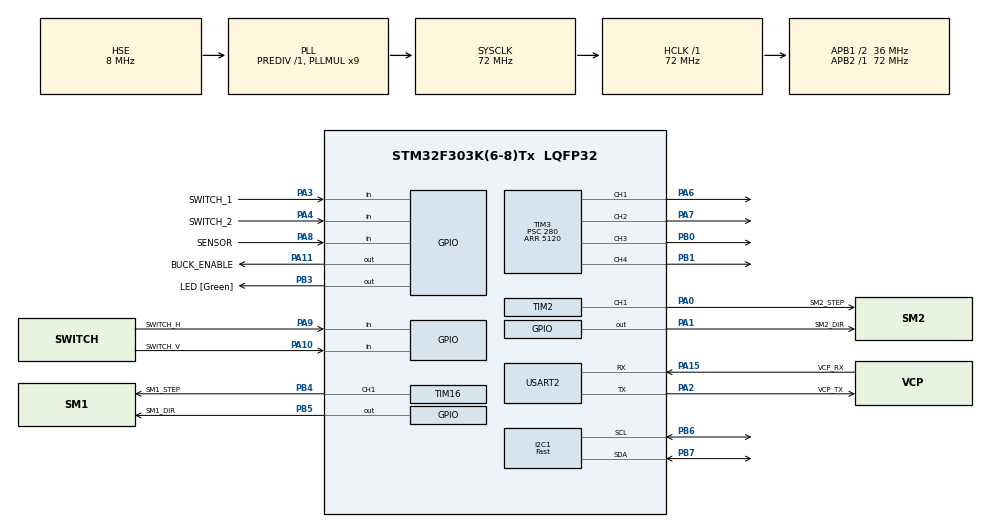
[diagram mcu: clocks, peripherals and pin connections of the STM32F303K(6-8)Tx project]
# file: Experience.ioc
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Dma.I2C1_TX.0.Direction=DMA_MEMORY_TO_PERIPH
Dma.I2C1_TX.0.Instance=DMA1_Channel2
Dma.I2C1_TX.0.MemDataAlignment=DMA_MDATAALIGN_HALFWORD
Dma.I2C1_TX.0.MemInc=DMA_MINC_ENABLE
Dma.I2C1_TX.0.Mode=DMA_CIRCULAR
Dma.I2C1_TX.0.PeriphDataAlignment=DMA_PDATAALIGN_BYTE
Dma.I2C1_TX.0.PeriphInc=DMA_PINC_DISABLE
Dma.I2C1_TX.0.Priority=DMA_PRIORITY_LOW
Dma.Request0=I2C1_TX
I2C1.I2C_Speed_Mode=I2C_Fast
I2C1.Timing=0x00702681
Mcu.Family=STM32F3
Mcu.Name=STM32F303K(6-8)Tx
Mcu.Package=LQFP32
NVIC.DMA1_Channel2_IRQn=true\:0\:0\:false\:false\:true\:false\:true
NVIC.PriorityGroup=NVIC_PRIORITYGROUP_4
NVIC.TIM1_UP_TIM16_IRQn=true\:0\:0\:false\:false\:true\:true\:true
NVIC.TIM2_IRQn=true\:0\:0\:false\:false\:true\:true\:true
NVIC.TIM6_DAC1_IRQn=true\:0\:0\:false\:false\:true\:true\:true
PA0.GPIO_Label=SM2_STEP
PA0.Signal=S_TIM2_CH1_ETR
PA1.GPIO_Label=SM2_DIR
PA1.Signal=GPIO_Output
PA10.GPIO_Label=SWITCH_V
PA10.Signal=GPIO_Input
PA11.GPIO_Label=BUCK_ENABLE
PA11.Signal=GPIO_Output
PA13.GPIO_Label=SWDIO
PA13.Mode=Serial_Wire
PA13.Signal=SYS_JTMS-SWDIO
PA14.GPIO_Label=SWCLK
PA14.Mode=Serial_Wire
PA14.Signal=SYS_JTCK-SWCLK
PA15.GPIO_Label=VCP_RX
PA15.Mode=Asynchronous
PA15.Signal=USART2_RX
PA2.GPIO_Label=VCP_TX
PA2.Mode=Asynchronous
PA2.Signal=USART2_TX
PA3.GPIO_Label=SWITCH_1
PA3.GPIO_PuPd=GPIO_PULLUP
PA3.Signal=GPIO_Input
PA4.GPIO_Label=SWITCH_2
PA4.GPIO_PuPd=GPIO_PULLUP
PA4.Signal=GPIO_Input
PA6.Signal=S_TIM3_CH1
PA7.Signal=S_TIM3_CH2
PA8.GPIO_Label=SENSOR
PA8.Signal=GPIO_Input
PA9.GPIO_Label=SWITCH_H
PA9.Signal=GPIO_Input
PB0.Signal=S_TIM3_CH3
PB1.Signal=S_TIM3_CH4
PB3.GPIO_Label=LED [Green]
PB3.Signal=GPIO_Output
PB4.GPIO_Label=SM1_STEP
PB4.Signal=S_TIM16_CH1
PB5.GPIO_Label=SM1_DIR
PB5.Signal=GPIO_Output
PB6.GPIO_PuPdOD=GPIO_NOPULL
PB6.Mode=I2C
PB6.Signal=I2C1_SCL
PB7.GPIO_PuPdOD=GPIO_NOPULL
PB7.Mode=I2C
PB7.Signal=I2C1_SDA
PF0\ /\ OSC_IN.Mode=HSE-External-Clock-Source
PF0\ /\ OSC_IN.Signal=RCC_OSC_IN
ProjectManager.HeapSize=0x200
ProjectManager.StackSize=0x400
ProjectManager.TargetToolchain=SW4STM32
RCC.AHBFreq_Value=72000000
RCC.APB1CLKDivider=RCC_HCLK_DIV2
RCC.APB1Freq_Value=36000000
RCC.APB1TimFreq_Value=72000000
RCC.APB2Freq_Value=72000000
RCC.APB2TimFreq_Value=72000000
RCC.CortexFreq_Value=72000000
RCC.HCLKFreq_Value=72000000
RCC.HSE_VALUE=8000000
RCC.HSI_VALUE=8000000
RCC.I2c1ClockSelection=RCC_I2C1CLKSOURCE_SYSCLK
RCC.PLLMUL=RCC_PLL_MUL9
RCC.PLLSourceVirtual=RCC_PLLSOURCE_HSE
RCC.SYSCLKFreq_VALUE=72000000
RCC.SYSCLKSourceVirtual=RCC_SYSCLKSOURCE_PLLCLK
SH.S_TIM16_CH1.0=TIM16_CH1,Output Compare1 CH1
SH.S_TIM2_CH1_ETR.0=TIM2_CH1,Output Compare1 CH1
SH.S_TIM3_CH1.0=TIM3_CH1,PWM Generation1 CH1
SH.S_TIM3_CH2.0=TIM3_CH2,PWM Generation2 CH2
SH.S_TIM3_CH3.0=TIM3_CH3,PWM Generation3 CH3
SH.S_TIM3_CH4.0=TIM3_CH4,PWM Generation4 CH4
TIM16.AutoReloadPreload=TIM_AUTORELOAD_PRELOAD_DISABLE
TIM16.Channel=TIM_CHANNEL_1
TIM16.OCMode_1=TIM_OCMODE_TOGGLE
TIM16.Period=1000
TIM16.Prescaler=50
TIM16.Pulse=20
TIM2.AutoReloadPreload=TIM_AUTORELOAD_PRELOAD_DISABLE
TIM2.Channel-Output\ Compare1\ CH1=TIM_CHANNEL_1
TIM2.OCMode_1=TIM_OCMODE_TOGGLE
TIM2.Period=1000
TIM2.Prescaler=50
TIM2.Pulse-Output\ Compare1\ CH1=20
TIM3.Channel-PWM\ Generation1\ CH1=TIM_CHANNEL_1
TIM3.Channel-PWM\ Generation2\ CH2=TIM_CHANNEL_2
TIM3.Channel-PWM\ Generation3\ CH3=TIM_CHANNEL_3
TIM3.Channel-PWM\ Generation4\ CH4=TIM_CHANNEL_4
TIM3.Period=5120
TIM3.Prescaler=280
TIM3.Pulse-PWM\ Generation1\ CH1=384
TIM3.Pulse-PWM\ Generation2\ CH2=384
TIM3.Pulse-PWM\ Generation3\ CH3=384
TIM3.Pulse-PWM\ Generation4\ CH4=384
TIM6.AutoReloadPreload=TIM_AUTORELOAD_PRELOAD_ENABLE
TIM6.Period=57600
TIM6.Prescaler=50
USART2.VirtualMode-Asynchronous=VM_ASYNC
VP_TIM16_VS_ClockSourceINT.Mode=Enable_Timer
VP_TIM2_VS_ClockSourceINT.Mode=Internal
VP_TIM3_VS_ClockSourceINT.Mode=Internal
VP_TIM6_VS_ClockSourceINT.Mode=Enable_Timer
board=NUCLEO-F303K8

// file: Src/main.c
/* USER CODE BEGIN Header */
/**
  ******************************************************************************
  * @file           : main.c
  * @brief          : Main program body
  ******************************************************************************
  * @attention
  *
  * <h2><center>&copy; Copyright (c) 2019 STMicroelectronics.
  * All rights reserved.</center></h2>
  *
  * This software component is licensed by ST under BSD 3-Clause license,
  * the "License"; You may not use this file except in compliance with the
  * License. You may obtain a copy of the License at:
  *                        opensource.org/licenses/BSD-3-Clause
  *
  ******************************************************************************
  */
/* USER CODE END Header */

#include "main.h"

/* USER CODE BEGIN Includes */

#include "../PCA9685/pca9685.h"
#include "../SX1509/sx1509.h"
/* USER CODE END Includes */

/* USER CODE BEGIN PD */
#define JRO     // used to disable code during tests, MAKE SURE TO COMMENT OUT !!!
/* USER CODE END PD */

I2C_HandleTypeDef hi2c1;
DMA_HandleTypeDef hdma_i2c1_tx;

TIM_HandleTypeDef htim2;
TIM_HandleTypeDef htim3;
TIM_HandleTypeDef htim6;
TIM_HandleTypeDef htim16;

UART_HandleTypeDef huart2;

/* USER CODE BEGIN PV */

// Variables liées au controle des moteurs PaP
extern uint8_t sm_busy;
extern uint16_t sm1_steps;  // steps à effectuer pour le mouvement en cours
extern uint16_t sm2_steps;
uint16_t sm1_pos = 0;   // position courante
uint16_t sm2_pos = 0;

// Table des positions des servos de la figurine (sera envoyée par DMA)
extern uint16_t servos[16]; // 8 servos, pour chacun, Ton et Toff

// Mot d'état des rubans de LED du décors, envoyé au SX1509 par I²C après chaque transfer DMA au PCA9685
uint8_t LEDs = 0;   // Eteintes par défaut

/* USER CODE END PV */

void SystemClock_Config(void);
static void MX_GPIO_Init(void);
static void MX_DMA_Init(void);
static void MX_USART2_UART_Init(void);
static void MX_I2C1_Init(void);
static void MX_TIM16_Init(void);
static void MX_TIM3_Init(void);
static void MX_TIM2_Init(void);
static void MX_TIM6_Init(void);

/* USER CODE BEGIN 0 */

// ====== Pilotage des PaP par interruption de TIM16 et TIM2 ========

// arguments : coordonnées (en mm) et vitesse (en mm/s) entre 3 et 100
void move (uint16_t Y, uint16_t Z, uint16_t S)
{
    // Tests de sécurité :
    if ((Y < 0 ) || (Y > 300)) return;  // portée horizontale
    if ((Z < 0 ) || (Z > 100)) return;  // portée verticale
    if ((S < 3 ) || (S > 100)) return;  // vitesse
    if (SW1 == 0) return;               // interrupteur de mise en sécurité / "homing"

    // Attendre la fin du mouvement précédent
    while (sm_busy > 0);
    // On active le busy
    sm_busy = 2;    // 2 parce qu'il y a deux moteurs
    // Nettoyage de signal : évite un temps trop court entre la dernière impulsion du mouvement précédent et la première impulsion du nouveau mouvement
    HAL_Delay (1);
    // Calcul du nombre de pas à effectuer, et de leur direction :
    // Axe 1 :
    // Conversion de la position demandée en pas moteur :
    uint16_t sm1_pos2 = Y * 25;
    // Déterminaison du sens de déplacement et de la distance à franchir :
    if (sm1_pos2 > sm1_pos)
        {
            // sens aller
            sm1_steps = (sm1_pos2 - sm1_pos) << 1;  // nombre de pas à effectuer, x2 car l'ISR du timer doit s'exécuter deux fois par pas
            // controle du signal de direction :
            HAL_GPIO_WritePin(SM1_DIR_GPIO_Port, SM1_DIR_Pin, GPIO_PIN_SET);
        }
    else
        {
            // sens retour
            sm1_steps = (sm1_pos - sm1_pos2) << 1;
            // controle du signal de direction :
            HAL_GPIO_WritePin(SM1_DIR_GPIO_Port, SM1_DIR_Pin, GPIO_PIN_RESET);
        }
    // Axe 2 :
    // Conversion de la position demandée en pas moteur :
    uint16_t sm2_pos2 = Z * 25;
    // Déterminaison du sens de déplacement et de la distance à franchir :
    if (sm2_pos2 > sm2_pos)
        {
            // sens aller
            sm2_steps = (sm2_pos2 - sm2_pos) << 1;  // nombre de pas à effectuer, x2 car l'ISR du timer doit s'exécuter deux fois par pas
            // controle du signal de direction :
            HAL_GPIO_WritePin(SM2_DIR_GPIO_Port, SM2_DIR_Pin, GPIO_PIN_SET);
        }
    else
        {
            // sens retour
            sm2_steps = (sm2_pos - sm2_pos2) << 1;
            // controle du signal de direction :
            HAL_GPIO_WritePin(SM2_DIR_GPIO_Port, SM2_DIR_Pin, GPIO_PIN_RESET);
        }
    // Calcul des fréquences timers
    // On commence par calculer la distance totale à parcourir :
    volatile double dist = sqrt (((double) sm1_steps * (double) sm1_steps) + ((double) sm2_steps * (double) sm2_steps));
    // Conversion de la vitesse de mm/s en pas/s :
    volatile double spd = S * 50;   // 25 x 2 : 25 pas par tour + doublé car l'interruption du timer aura lieu deux fois par pas
    // La figurine doit couvrir la distance "dist", en pas, à une vitesse de "spd", en pas par seconde
    // Calcul de la durée du mouvement coordonné :
    volatile double duration = dist / spd;    // resultat en secondes
    // Calcul de la période pour le timer de SM1 :
    // SM1 doit effectuer "sm1_steps" pas en "duration" secondes, donc la vitesse en pas/s sur cet axe est sm1_steps/duration : ce ratio est le nombre de pas à effectuer par seconde
    volatile double sm1_spd = sm1_steps / duration;
    // Le timer tourne à 1.44 MHz : pour produire la fréquence voulue, la période en cycles sera de 1.44 M / sm1_spd
    volatile double sm1_period = 1440000.0 / sm1_spd; // cette valeur devrait être inférieure à 65535 si la vitesse de mouvement est d'au moins 3 mm/s
    // SM2 : meme calculs :
    volatile double sm2_spd = sm2_steps / duration;
    volatile double sm2_period = 1440000.0 / sm2_spd; // cette valeur devrait être inférieure à 65535 si la vitesse de mouvement est d'au moins 3 mm/s

#ifdef JRO // raccourcissement de la trajectoire réelle afin d'aider à la visualisation sur scope
    sm1_steps /= 25;
    sm2_steps /= 25;
#endif

    // Paramétrage des timers
    htim16.Instance->ARR = (uint16_t) sm1_period;
    htim16.Instance->CCR1 = ((uint16_t) sm1_period) >> 1;   // on centre l'interruption sur la période
    htim2.Instance->ARR = (uint16_t) sm2_period;
    htim2.Instance->CCR1 = ((uint16_t) sm2_period) >> 1;   // on centre l'interruption sur la période
    // Lancement des timers
    HAL_TIM_OC_Start_IT(&htim2, 0);
    HAL_TIM_OC_Start_IT(&htim16, 0);
    // Mise à jour de la position courante aux nouvelles coordonnées
    sm1_pos = sm1_pos2;
    sm2_pos = sm2_pos2;
}

// Pilotage des servos de la figurine, fonction à interface simplifiée
// Argument : un tableau de huit valeurs 8 bits pour les 7 servos et la PWM des LED des yeux
// Cette fonction s'exécute en un peu moins de 1 ms, et elle est bloquante.
void pose (uint16_t* positions)
{
    servos[1] = positions[0];
    servos[3] = positions[1];
    servos[5] = positions[2];
    servos[7] = positions[3];
    servos[9] = positions[4];
    servos[11] = positions[5];
    servos[13] = positions[6];
    servos[15] = positions[7];
#ifndef JRO
    pca_writebuff16b (&hi2c1, PCA9685_LED8_ON_L, servos, 32);   // Remplacer PCA9685_LED8_ON_L par le premier canal utilisé sur la figurine, si nécessaire
#endif
}

/* USER CODE END 0 */

int main(void)
{

  /* MCU Configuration--------------------------------------------------------*/

  /* Reset of all peripherals, Initializes the Flash interface and the Systick. */
  HAL_Init();

  /* Configure the system clock */
  SystemClock_Config();

  /* Initialize all configured peripherals */
  MX_GPIO_Init();
  MX_DMA_Init();
  MX_USART2_UART_Init();
  MX_I2C1_Init();
  MX_TIM16_Init();
  MX_TIM3_Init();
  MX_TIM2_Init();
  MX_TIM6_Init();
  /* USER CODE BEGIN 2 */
  HAL_TIM_Base_Start_IT(&htim6); // Start_IT necessaire pour activer l'interruption de ce timer.

  // Init des périphériques I²C
#ifndef JRO
  sxinit(&hi2c1);
  pca_init(&hi2c1);
#endif

  /* USER CODE END 2 */

  /* Infinite loop */
  /* USER CODE BEGIN WHILE */

  // Init des positions initiales des servos
#ifndef JRO
  int k;
  for (k = 0; k < 16; k++)
      servos[k] = 0;
  pose (uint16_t[]{320, 320, 320, 320, 320, 320, 320, 0});  // Servos en position médiane, LED éteintes
#endif

  // Activation des servos "electron" et "toit"
  HAL_TIM_PWM_Start(&htim3, TIM_CHANNEL_1);     // Electron
  HAL_TIM_PWM_Start(&htim3, TIM_CHANNEL_2);     // Toit
  // HAL_TIM_PWM_Start(&htim3, 2);     // Réserve

  // première boucle infinie, dédiée à la detection de robot et au lancement de l'électron
#ifndef JRO
  uint8_t presence_robot = 0;
#else
  uint8_t presence_robot = 10;  // bypass du test de présence robot, UNIQUEMENT EN DEVELOPPEMENT
#endif
  while (1)
  {
    /* USER CODE END WHILE */

    /* USER CODE BEGIN 3 */

    HAL_Delay (10);

    // On attend de détecter le robot, puis qu'il disparaisse de devant le capteur
    if (presence_robot < 10)
    {
        // tester le capteur ultrasons et mettre à jour presence_robot le cas échéant
        // on veut détecter le robot dix fois d'affilée pour être certain qu'on ne déclenche pas sur un malentendu.
        if (SENSOR == GPIO_PIN_SET)
            presence_robot++;
        else
            presence_robot = 0;
    }
    else
    {
        // on a détecté un robot durant dix cycles de 10 ms (histoire de filtrer tout bruit sur le capteur)
        // re-tester le capteur ultrasons : si le robot a quitté le champ du capteur, on lance l'électron et on quitte cette boucle infinie
#ifndef JRO
        if (SENSOR == GPIO_PIN_RESET)
        {
#endif
            // SEQUENCE SERVO :
            htim3.Instance->CCR1 = 256 + 0; // Mouvement à droite
            HAL_Delay (500);                // Pause 0.5 seconde
            htim3.Instance->CCR1 = 256 + 256; // Mouvement à gauche
            HAL_Delay (500);               // Pause 0.5 seconde
            htim3.Instance->CCR1 = 256 + 128;// Mouvement au centre
            break;
#ifndef JRO
        }
#endif
    }

  }

  // Deuxième boucle infinie, dédiée à la "choregraphie"
  while (1)
  {
   // Attitude de la figurine

   // Exemple de séquence de mouvement des PaP : chaque appel est bloquant, use wisely !
   //   move (50, 20, 3);
   //   move (0, 0, 100);
   // Shorter moves for debugging, at closer speeds
   move (2, 5, 10);     // "move" est non-bloquante, elle retourne des que le mouvement commence
   pose ((uint16_t[]){110, 530, 110, 530, 110, 530, 110, 2000});   // "pose" est bloquante et dure 1 ms. Les commandes de servo (ES9051) doivent être entre 110 et 530, la commande de LED peut aller de 0 à 4095
   move (0, 0, 15);
   pose ((uint16_t[]){530, 110, 530, 110, 530, 110, 530, 3000});

    //  HAL_Delay (10);
  }

  /* USER CODE END 3 */
}

void SystemClock_Config(void)
{
  RCC_OscInitTypeDef RCC_OscInitStruct = {0};
  RCC_ClkInitTypeDef RCC_ClkInitStruct = {0};
  RCC_PeriphCLKInitTypeDef PeriphClkInit = {0};

  /** Initializes the CPU, AHB and APB busses clocks
  */
  RCC_OscInitStruct.OscillatorType = RCC_OSCILLATORTYPE_HSE;
  RCC_OscInitStruct.HSEState = RCC_HSE_BYPASS;
  RCC_OscInitStruct.HSEPredivValue = RCC_HSE_PREDIV_DIV1;
  RCC_OscInitStruct.HSIState = RCC_HSI_ON;
  RCC_OscInitStruct.PLL.PLLState = RCC_PLL_ON;
  RCC_OscInitStruct.PLL.PLLSource = RCC_PLLSOURCE_HSE;
  RCC_OscInitStruct.PLL.PLLMUL = RCC_PLL_MUL9;
  if (HAL_RCC_OscConfig(&RCC_OscInitStruct) != HAL_OK)
  {
    Error_Handler();
  }
  /** Initializes the CPU, AHB and APB busses clocks
  */
  RCC_ClkInitStruct.ClockType = RCC_CLOCKTYPE_HCLK|RCC_CLOCKTYPE_SYSCLK
                              |RCC_CLOCKTYPE_PCLK1|RCC_CLOCKTYPE_PCLK2;
  RCC_ClkInitStruct.SYSCLKSource = RCC_SYSCLKSOURCE_PLLCLK;
  RCC_ClkInitStruct.AHBCLKDivider = RCC_SYSCLK_DIV1;
  RCC_ClkInitStruct.APB1CLKDivider = RCC_HCLK_DIV2;
  RCC_ClkInitStruct.APB2CLKDivider = RCC_HCLK_DIV1;

  if (HAL_RCC_ClockConfig(&RCC_ClkInitStruct, FLASH_LATENCY_2) != HAL_OK)
  {
    Error_Handler();
  }
  PeriphClkInit.PeriphClockSelection = RCC_PERIPHCLK_I2C1;
  PeriphClkInit.I2c1ClockSelection = RCC_I2C1CLKSOURCE_SYSCLK;
  if (HAL_RCCEx_PeriphCLKConfig(&PeriphClkInit) != HAL_OK)
  {
    Error_Handler();
  }
}

static void MX_I2C1_Init(void)
{

  hi2c1.Instance = I2C1;
  hi2c1.Init.Timing = 0x00702681;
  hi2c1.Init.OwnAddress1 = 0;
  hi2c1.Init.AddressingMode = I2C_ADDRESSINGMODE_7BIT;
  hi2c1.Init.DualAddressMode = I2C_DUALADDRESS_DISABLE;
  hi2c1.Init.OwnAddress2 = 0;
  hi2c1.Init.OwnAddress2Masks = I2C_OA2_NOMASK;
  hi2c1.Init.GeneralCallMode = I2C_GENERALCALL_DISABLE;
  hi2c1.Init.NoStretchMode = I2C_NOSTRETCH_DISABLE;
  if (HAL_I2C_Init(&hi2c1) != HAL_OK)
  {
    Error_Handler();
  }
  /** Configure Analogue filter
  */
  if (HAL_I2CEx_ConfigAnalogFilter(&hi2c1, I2C_ANALOGFILTER_ENABLE) != HAL_OK)
  {
    Error_Handler();
  }
  /** Configure Digital filter
  */
  if (HAL_I2CEx_ConfigDigitalFilter(&hi2c1, 0) != HAL_OK)
  {
    Error_Handler();
  }

}

static void MX_TIM2_Init(void)
{

  TIM_ClockConfigTypeDef sClockSourceConfig = {0};
  TIM_MasterConfigTypeDef sMasterConfig = {0};
  TIM_OC_InitTypeDef sConfigOC = {0};

  htim2.Instance = TIM2;
  htim2.Init.Prescaler = 50;
  htim2.Init.CounterMode = TIM_COUNTERMODE_UP;
  htim2.Init.Period = 1000;
  htim2.Init.ClockDivision = TIM_CLOCKDIVISION_DIV1;
  htim2.Init.AutoReloadPreload = TIM_AUTORELOAD_PRELOAD_DISABLE;
  if (HAL_TIM_Base_Init(&htim2) != HAL_OK)
  {
    Error_Handler();
  }
  sClockSourceConfig.ClockSource = TIM_CLOCKSOURCE_INTERNAL;
  if (HAL_TIM_ConfigClockSource(&htim2, &sClockSourceConfig) != HAL_OK)
  {
    Error_Handler();
  }
  if (HAL_TIM_OC_Init(&htim2) != HAL_OK)
  {
    Error_Handler();
  }
  sMasterConfig.MasterOutputTrigger = TIM_TRGO_RESET;
  sMasterConfig.MasterSlaveMode = TIM_MASTERSLAVEMODE_DISABLE;
  if (HAL_TIMEx_MasterConfigSynchronization(&htim2, &sMasterConfig) != HAL_OK)
  {
    Error_Handler();
  }
  sConfigOC.OCMode = TIM_OCMODE_TOGGLE;
  sConfigOC.Pulse = 20;
  sConfigOC.OCPolarity = TIM_OCPOLARITY_HIGH;
  sConfigOC.OCFastMode = TIM_OCFAST_DISABLE;
  if (HAL_TIM_OC_ConfigChannel(&htim2, &sConfigOC, TIM_CHANNEL_1) != HAL_OK)
  {
    Error_Handler();
  }
  HAL_TIM_MspPostInit(&htim2);

}

static void MX_TIM3_Init(void)
{

  TIM_ClockConfigTypeDef sClockSourceConfig = {0};
  TIM_MasterConfigTypeDef sMasterConfig = {0};
  TIM_OC_InitTypeDef sConfigOC = {0};

  htim3.Instance = TIM3;
  htim3.Init.Prescaler = 280;
  htim3.Init.CounterMode = TIM_COUNTERMODE_UP;
  htim3.Init.Period = 5120;
  htim3.Init.ClockDivision = TIM_CLOCKDIVISION_DIV1;
  htim3.Init.AutoReloadPreload = TIM_AUTORELOAD_PRELOAD_DISABLE;
  if (HAL_TIM_Base_Init(&htim3) != HAL_OK)
  {
    Error_Handler();
  }
  sClockSourceConfig.ClockSource = TIM_CLOCKSOURCE_INTERNAL;
  if (HAL_TIM_ConfigClockSource(&htim3, &sClockSourceConfig) != HAL_OK)
  {
    Error_Handler();
  }
  if (HAL_TIM_PWM_Init(&htim3) != HAL_OK)
  {
    Error_Handler();
  }
  sMasterConfig.MasterOutputTrigger = TIM_TRGO_RESET;
  sMasterConfig.MasterSlaveMode = TIM_MASTERSLAVEMODE_DISABLE;
  if (HAL_TIMEx_MasterConfigSynchronization(&htim3, &sMasterConfig) != HAL_OK)
  {
    Error_Handler();
  }
  sConfigOC.OCMode = TIM_OCMODE_PWM1;
  sConfigOC.Pulse = 384;
  sConfigOC.OCPolarity = TIM_OCPOLARITY_HIGH;
  sConfigOC.OCFastMode = TIM_OCFAST_DISABLE;
  if (HAL_TIM_PWM_ConfigChannel(&htim3, &sConfigOC, TIM_CHANNEL_1) != HAL_OK)
  {
    Error_Handler();
  }
  if (HAL_TIM_PWM_ConfigChannel(&htim3, &sConfigOC, TIM_CHANNEL_2) != HAL_OK)
  {
    Error_Handler();
  }
  if (HAL_TIM_PWM_ConfigChannel(&htim3, &sConfigOC, TIM_CHANNEL_3) != HAL_OK)
  {
    Error_Handler();
  }
  if (HAL_TIM_PWM_ConfigChannel(&htim3, &sConfigOC, TIM_CHANNEL_4) != HAL_OK)
  {
    Error_Handler();
  }
  HAL_TIM_MspPostInit(&htim3);

}

static void MX_TIM6_Init(void)
{

  TIM_MasterConfigTypeDef sMasterConfig = {0};

  htim6.Instance = TIM6;
  htim6.Init.Prescaler = 50;
  htim6.Init.CounterMode = TIM_COUNTERMODE_UP;
  htim6.Init.Period = 57600;
  htim6.Init.AutoReloadPreload = TIM_AUTORELOAD_PRELOAD_ENABLE;
  if (HAL_TIM_Base_Init(&htim6) != HAL_OK)
  {
    Error_Handler();
  }
  sMasterConfig.MasterOutputTrigger = TIM_TRGO_RESET;
  sMasterConfig.MasterSlaveMode = TIM_MASTERSLAVEMODE_DISABLE;
  if (HAL_TIMEx_MasterConfigSynchronization(&htim6, &sMasterConfig) != HAL_OK)
  {
    Error_Handler();
  }

}

static void MX_TIM16_Init(void)
{

  TIM_OC_InitTypeDef sConfigOC = {0};
  TIM_BreakDeadTimeConfigTypeDef sBreakDeadTimeConfig = {0};

  htim16.Instance = TIM16;
  htim16.Init.Prescaler = 50;
  htim16.Init.CounterMode = TIM_COUNTERMODE_UP;
  htim16.Init.Period = 1000;
  htim16.Init.ClockDivision = TIM_CLOCKDIVISION_DIV1;
  htim16.Init.RepetitionCounter = 0;
  htim16.Init.AutoReloadPreload = TIM_AUTORELOAD_PRELOAD_DISABLE;
  if (HAL_TIM_Base_Init(&htim16) != HAL_OK)
  {
    Error_Handler();
  }
  if (HAL_TIM_OC_Init(&htim16) != HAL_OK)
  {
    Error_Handler();
  }
  sConfigOC.OCMode = TIM_OCMODE_TOGGLE;
  sConfigOC.Pulse = 20;
  sConfigOC.OCPolarity = TIM_OCPOLARITY_HIGH;
  sConfigOC.OCNPolarity = TIM_OCNPOLARITY_HIGH;
  sConfigOC.OCFastMode = TIM_OCFAST_DISABLE;
  sConfigOC.OCIdleState = TIM_OCIDLESTATE_RESET;
  sConfigOC.OCNIdleState = TIM_OCNIDLESTATE_RESET;
  if (HAL_TIM_OC_ConfigChannel(&htim16, &sConfigOC, TIM_CHANNEL_1) != HAL_OK)
  {
    Error_Handler();
  }
  sBreakDeadTimeConfig.OffStateRunMode = TIM_OSSR_DISABLE;
  sBreakDeadTimeConfig.OffStateIDLEMode = TIM_OSSI_DISABLE;
  sBreakDeadTimeConfig.LockLevel = TIM_LOCKLEVEL_OFF;
  sBreakDeadTimeConfig.DeadTime = 0;
  sBreakDeadTimeConfig.BreakState = TIM_BREAK_DISABLE;
  sBreakDeadTimeConfig.BreakPolarity = TIM_BREAKPOLARITY_HIGH;
  sBreakDeadTimeConfig.BreakFilter = 0;
  sBreakDeadTimeConfig.AutomaticOutput = TIM_AUTOMATICOUTPUT_DISABLE;
  if (HAL_TIMEx_ConfigBreakDeadTime(&htim16, &sBreakDeadTimeConfig) != HAL_OK)
  {
    Error_Handler();
  }
  HAL_TIM_MspPostInit(&htim16);

}

static void MX_USART2_UART_Init(void)
{

  huart2.Instance = USART2;
  huart2.Init.BaudRate = 38400;
  huart2.Init.WordLength = UART_WORDLENGTH_8B;
  huart2.Init.StopBits = UART_STOPBITS_1;
  huart2.Init.Parity = UART_PARITY_NONE;
  huart2.Init.Mode = UART_MODE_TX_RX;
  huart2.Init.HwFlowCtl = UART_HWCONTROL_NONE;
  huart2.Init.OverSampling = UART_OVERSAMPLING_16;
  huart2.Init.OneBitSampling = UART_ONE_BIT_SAMPLE_DISABLE;
  huart2.AdvancedInit.AdvFeatureInit = UART_ADVFEATURE_NO_INIT;
  if (HAL_UART_Init(&huart2) != HAL_OK)
  {
    Error_Handler();
  }

}

static void MX_DMA_Init(void)
{
  /* DMA controller clock enable */
  __HAL_RCC_DMA1_CLK_ENABLE();

  /* DMA interrupt init */
  /* DMA1_Channel2_IRQn interrupt configuration */
  HAL_NVIC_SetPriority(DMA1_Channel2_IRQn, 0, 0);
  HAL_NVIC_EnableIRQ(DMA1_Channel2_IRQn);

}

static void MX_GPIO_Init(void)
{
  GPIO_InitTypeDef GPIO_InitStruct = {0};

  /* GPIO Ports Clock Enable */
  __HAL_RCC_GPIOF_CLK_ENABLE();
  __HAL_RCC_GPIOA_CLK_ENABLE();
  __HAL_RCC_GPIOB_CLK_ENABLE();

  /*Configure GPIO pin Output Level */
  HAL_GPIO_WritePin(GPIOA, SM2_DIR_Pin|BUCK_ENABLE_Pin, GPIO_PIN_RESET);

  /*Configure GPIO pin Output Level */
  HAL_GPIO_WritePin(GPIOB, LED_Pin|SM1_DIR_Pin, GPIO_PIN_RESET);

  /*Configure GPIO pins : SM2_DIR_Pin BUCK_ENABLE_Pin */
  GPIO_InitStruct.Pin = SM2_DIR_Pin|BUCK_ENABLE_Pin;
  GPIO_InitStruct.Mode = GPIO_MODE_OUTPUT_PP;
  GPIO_InitStruct.Pull = GPIO_NOPULL;
  GPIO_InitStruct.Speed = GPIO_SPEED_FREQ_LOW;
  HAL_GPIO_Init(GPIOA, &GPIO_InitStruct);

  /*Configure GPIO pins : SWITCH_1_Pin SWITCH_2_Pin */
  GPIO_InitStruct.Pin = SWITCH_1_Pin|SWITCH_2_Pin;
  GPIO_InitStruct.Mode = GPIO_MODE_INPUT;
  GPIO_InitStruct.Pull = GPIO_PULLUP;
  HAL_GPIO_Init(GPIOA, &GPIO_InitStruct);

  /*Configure GPIO pins : SENSOR_Pin SWITCH_H_Pin SWITCH_V_Pin */
  GPIO_InitStruct.Pin = SENSOR_Pin|SWITCH_H_Pin|SWITCH_V_Pin;
  GPIO_InitStruct.Mode = GPIO_MODE_INPUT;
  GPIO_InitStruct.Pull = GPIO_NOPULL;
  HAL_GPIO_Init(GPIOA, &GPIO_InitStruct);

  /*Configure GPIO pins : LED_Pin SM1_DIR_Pin */
  GPIO_InitStruct.Pin = LED_Pin|SM1_DIR_Pin;
  GPIO_InitStruct.Mode = GPIO_MODE_OUTPUT_PP;
  GPIO_InitStruct.Pull = GPIO_NOPULL;
  GPIO_InitStruct.Speed = GPIO_SPEED_FREQ_LOW;
  HAL_GPIO_Init(GPIOB, &GPIO_InitStruct);

}

void Error_Handler(void)
{
}

/************************ (C) COPYRIGHT STMicroelectronics *****END OF FILE****/
